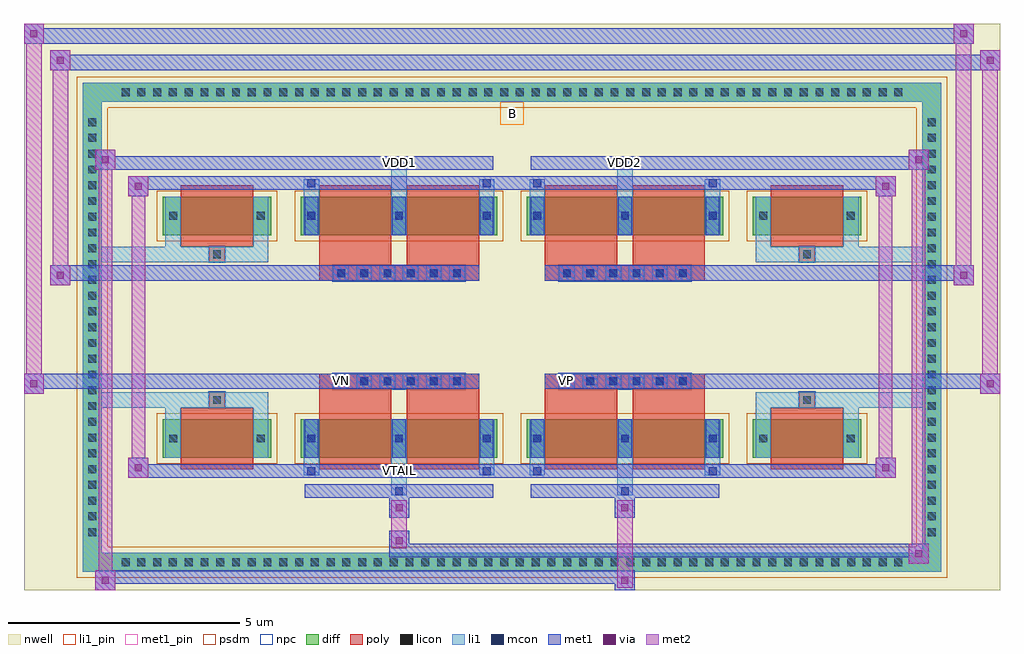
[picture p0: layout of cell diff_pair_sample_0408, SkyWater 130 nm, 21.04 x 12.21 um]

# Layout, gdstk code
import gdstk
lib = gdstk.Library(unit=1e-6, precision=5e-09)
def R(c, l, rs):  # rectangles x0, y0, x1, y1
    for r in rs: c.add(gdstk.rectangle(r[:2], r[2:], *l))
def A(c, l, x, y, w, h, nx, ny, dx, dy):  # array of equal rectangles
    R(c, l, [(x+i*dx, y+j*dy, x+i*dx+w, y+j*dy+h) for i in range(nx) for j in range(ny)])
def P(c, l, *ps):  # polygons
    for p in ps: c.add(gdstk.Polygon(p, *l))
nwell = (64, 20)
diff = (65, 20)
poly = (66, 20)
licon = (66, 44)
li1_pin = (67, 16)
li1 = (67, 20)
mcon = (67, 44)
met1_pin = (68, 16)
met1 = (68, 20)
via = (68, 44)
met2 = (69, 20)
psdm = (94, 20)
npc = (95, 20)

diff_pair_sample_0408 = lib.new_cell('diff_pair_sample_0408')
R(diff_pair_sample_0408, nwell, [(-10.52,-5.67,10.52,6.54), (-7.84,-3.86,-0.01,-0.8), (0.01,-3.86,7.84,-0.8), (-7.84,0.8,-0.01,3.86), (0.01,0.8,7.84,3.86)])
A(diff_pair_sample_0408, diff, -8.535, -5.27, 0.41, 0.41, 50, 2, 0.34, 10.13)
A(diff_pair_sample_0408, diff, -9.25, -4.625, 0.41, 0.41, 1, 27, 0, 0.34)
A(diff_pair_sample_0408, diff, 8.84, -4.625, 0.41, 0.41, 1, 27, 0, 0.34)
R(diff_pair_sample_0408, diff, [(-8.535,-5.27,8.535,-4.86), (-9.25,-4.625,-8.84,4.625), (8.84,-4.625,9.25,4.625), (-7.53,-2.815,-5.19,-1.985), (-4.55,-2.815,-0.32,-1.985), (0.32,-2.815,4.55,-1.985), (5.19,-2.815,7.53,-1.985), (-7.53,1.985,-5.19,2.815), (-4.55,1.985,-0.32,2.815), (0.32,1.985,4.55,2.815), (5.19,1.985,7.53,2.815), (-8.535,4.86,8.535,5.27)])
P(diff_pair_sample_0408, diff, [(9.25,5.27),(-9.25,5.27),(-9.25,-4.86),(-8.84,-4.86),(-8.84,4.86),(8.84,4.86),(8.84,-4.86),(-8.84,-4.86),(-9.25,-4.86),(-9.25,-5.27),(9.25,-5.27)])
A(diff_pair_sample_0408, poly, -3.85, -1.33, 0.33, 0.33, 6, 2, 0.5, 2.33)
A(diff_pair_sample_0408, poly, 1.02, -1.33, 0.33, 0.33, 6, 2, 0.5, 2.33)
R(diff_pair_sample_0408, poly, [(-7.14,-3.065,-5.58,-1.735), (-4.16,-3.065,-2.6,-1.735), (-2.27,-3.065,-0.71,-1.735), (0.71,-3.065,2.27,-1.735), (2.6,-3.065,4.16,-1.735), (5.58,-3.065,7.14,-1.735), (-6.525,-1.735,-6.195,-1.405), (-6.525,-1.735,-6.195,-1.405), (-4.16,-1.735,-2.6,-1.33), (-2.27,-1.735,-0.71,-1.33), (0.71,-1.735,2.27,-1.33), (2.6,-1.735,4.16,-1.33), (6.195,-1.735,6.525,-1.405), (6.195,-1.735,6.525,-1.405), (-4.16,-1.33,-0.71,-1), (0.71,-1.33,4.16,-1), (-4.16,1,-0.71,1.33), (0.71,1,4.16,1.33), (-4.16,1.33,-2.6,1.735), (-2.27,1.33,-0.71,1.735), (0.71,1.33,2.27,1.735), (2.6,1.33,4.16,1.735), (-6.525,1.405,-6.195,1.735), (-6.525,1.405,-6.195,1.735), (6.195,1.405,6.525,1.735), (6.195,1.405,6.525,1.735), (-7.14,1.735,-5.58,3.065), (-4.16,1.735,-2.6,3.065), (-2.27,1.735,-0.71,3.065), (0.71,1.735,2.27,3.065), (2.6,1.735,4.16,3.065), (5.58,1.735,7.14,3.065)])
A(diff_pair_sample_0408, licon, -8.415, -5.15, 0.17, 0.17, 50, 2, 0.34, 10.13)
A(diff_pair_sample_0408, licon, -9.13, -4.505, 0.17, 0.17, 1, 27, 0, 0.34)
A(diff_pair_sample_0408, licon, 8.96, -4.505, 0.17, 0.17, 1, 27, 0, 0.34)
A(diff_pair_sample_0408, licon, -4.41, -2.485, 0.17, 0.17, 3, 2, 1.89, 4.8)
A(diff_pair_sample_0408, licon, 0.46, -2.485, 0.17, 0.17, 3, 2, 1.89, 4.8)
A(diff_pair_sample_0408, licon, -3.77, -1.25, 0.17, 0.17, 6, 2, 0.5, 2.33)
A(diff_pair_sample_0408, licon, 1.1, -1.25, 0.17, 0.17, 6, 2, 0.5, 2.33)
R(diff_pair_sample_0408, licon, [(-7.39,-2.485,-7.22,-2.315), (-5.5,-2.485,-5.33,-2.315), (5.33,-2.485,5.5,-2.315), (7.22,-2.485,7.39,-2.315), (-6.445,-1.655,-6.275,-1.485), (6.275,-1.655,6.445,-1.485), (-6.445,1.485,-6.275,1.655), (6.275,1.485,6.445,1.655), (-7.39,2.315,-7.22,2.485), (-5.5,2.315,-5.33,2.485), (5.33,2.315,5.5,2.485), (7.22,2.315,7.39,2.485)])
R(diff_pair_sample_0408, li1_pin, [(-0.25,4.36,0.25,4.86)])
A(diff_pair_sample_0408, li1, -8.495, -5.23, 0.33, 0.33, 50, 2, 0.34, 10.13)
A(diff_pair_sample_0408, li1, -9.21, -4.585, 0.33, 0.33, 1, 27, 0, 0.34)
A(diff_pair_sample_0408, li1, 8.88, -4.585, 0.33, 0.33, 1, 27, 0, 0.34)
A(diff_pair_sample_0408, li1, -4.49, -2.815, 0.33, 0.83, 3, 2, 1.89, 4.8)
A(diff_pair_sample_0408, li1, 0.38, -2.815, 0.33, 0.83, 3, 2, 1.89, 4.8)
A(diff_pair_sample_0408, li1, -4.49, -2.565, 0.33, 0.33, 3, 2, 1.89, 4.8)
A(diff_pair_sample_0408, li1, 0.38, -2.565, 0.33, 0.33, 3, 2, 1.89, 4.8)
A(diff_pair_sample_0408, li1, -3.85, -1.33, 0.33, 0.33, 6, 2, 0.5, 2.33)
A(diff_pair_sample_0408, li1, 1.02, -1.33, 0.33, 0.33, 6, 2, 0.5, 2.33)
R(diff_pair_sample_0408, li1, [(-9.25,-5.27,-8.84,-4.86), (-9.25,-5.27,-8.84,-4.86), (-8.84,-5.27,8.84,-4.86), (8.84,-5.27,9.25,-4.86), (8.84,-5.27,9.25,-4.86), (-9.25,-4.86,-8.84,4.86), (8.84,-4.86,9.25,4.86), (-2.6,-3.62,-2.27,-2.815), (-2.52,-3.62,-2.35,-3.45), (2.27,-3.62,2.6,-2.815), (2.35,-3.62,2.52,-3.45), (-4.49,-3.19,-4.16,-2.815), (-4.41,-3.19,-4.24,-3.02), (-0.71,-3.19,-0.38,-2.815), (-0.63,-3.19,-0.46,-3.02), (0.38,-3.19,0.71,-2.815), (0.46,-3.19,0.63,-3.02), (4.16,-3.19,4.49,-2.815), (4.24,-3.19,4.41,-3.02), (-7.47,-2.815,-7.14,-1.985), (-5.58,-2.815,-5.25,-1.985), (5.25,-2.815,5.58,-1.985), (7.14,-2.815,7.47,-1.985), (-7.47,-2.565,-7.14,-2.235), (-5.58,-2.565,-5.25,-2.235), (5.25,-2.565,5.58,-2.235), (7.14,-2.565,7.47,-2.235), (-4.41,-2.485,-4.24,-2.315), (-4.41,-2.485,-4.24,-2.315), (-2.52,-2.485,-2.35,-2.315), (-2.52,-2.485,-2.35,-2.315), (-0.63,-2.485,-0.46,-2.315), (-0.63,-2.485,-0.46,-2.315), (0.46,-2.485,0.63,-2.315), (0.46,-2.485,0.63,-2.315), (2.35,-2.485,2.52,-2.315), (2.35,-2.485,2.52,-2.315), (4.24,-2.485,4.41,-2.315), (4.24,-2.485,4.41,-2.315), (-7.47,-1.985,-7.14,-1.405), (-5.58,-1.985,-5.25,-1.405), (5.25,-1.985,5.58,-1.405), (7.14,-1.985,7.47,-1.405), (-9.25,-1.735,-6.525,-1.405), (-7.47,-1.735,-6.525,-1.405), (-6.525,-1.735,-6.195,-1.405), (-6.195,-1.735,-5.25,-1.405), (5.25,-1.735,6.195,-1.405), (6.195,-1.735,6.525,-1.405), (6.195,-1.735,9.25,-1.405), (6.525,-1.735,7.47,-1.405), (-9.25,1.405,-6.525,1.735), (-7.47,1.405,-6.525,1.735), (-7.47,1.405,-7.14,1.985), (-6.525,1.405,-6.195,1.735), (-6.195,1.405,-5.25,1.735), (-5.58,1.405,-5.25,1.985), (5.25,1.405,6.195,1.735), (5.25,1.405,5.58,1.985), (6.195,1.405,6.525,1.735), (6.195,1.405,9.25,1.735), (6.525,1.405,7.47,1.735), (7.14,1.405,7.47,1.985), (-7.47,1.985,-7.14,2.815), (-5.58,1.985,-5.25,2.815), (5.25,1.985,5.58,2.815), (7.14,1.985,7.47,2.815), (-7.47,2.235,-7.14,2.565), (-5.58,2.235,-5.25,2.565), (5.25,2.235,5.58,2.565), (7.14,2.235,7.47,2.565), (-4.41,2.315,-4.24,2.485), (-4.41,2.315,-4.24,2.485), (-2.52,2.315,-2.35,2.485), (-2.52,2.315,-2.35,2.485), (-0.63,2.315,-0.46,2.485), (-0.63,2.315,-0.46,2.485), (0.46,2.315,0.63,2.485), (0.46,2.315,0.63,2.485), (2.35,2.315,2.52,2.485), (2.35,2.315,2.52,2.485), (4.24,2.315,4.41,2.485), (4.24,2.315,4.41,2.485), (-4.49,2.815,-4.16,3.19), (-2.6,2.815,-2.27,3.62), (-0.71,2.815,-0.38,3.19), (0.38,2.815,0.71,3.19), (2.27,2.815,2.6,3.62), (4.16,2.815,4.49,3.19), (-4.41,3.02,-4.24,3.19), (-0.63,3.02,-0.46,3.19), (0.46,3.02,0.63,3.19), (4.24,3.02,4.41,3.19), (-2.52,3.45,-2.35,3.62), (2.35,3.45,2.52,3.62), (-9.25,4.86,-8.84,5.27), (-9.25,4.86,-8.84,5.27), (-8.84,4.86,8.84,5.27), (8.84,4.86,9.25,5.27), (8.84,4.86,9.25,5.27)])
A(diff_pair_sample_0408, mcon, -4.41, -2.485, 0.17, 0.17, 3, 2, 1.89, 4.8)
A(diff_pair_sample_0408, mcon, 0.46, -2.485, 0.17, 0.17, 3, 2, 1.89, 4.8)
A(diff_pair_sample_0408, mcon, -3.77, -1.25, 0.17, 0.17, 6, 2, 0.5, 2.33)
A(diff_pair_sample_0408, mcon, 1.1, -1.25, 0.17, 0.17, 6, 2, 0.5, 2.33)
R(diff_pair_sample_0408, mcon, [(-2.52,-3.62,-2.35,-3.45), (2.35,-3.62,2.52,-3.45), (-4.41,-3.19,-4.24,-3.02), (-0.63,-3.19,-0.46,-3.02), (0.46,-3.19,0.63,-3.02), (4.24,-3.19,4.41,-3.02), (-4.41,3.02,-4.24,3.19), (-0.63,3.02,-0.46,3.19), (0.46,3.02,0.63,3.19), (4.24,3.02,4.41,3.19), (-2.52,3.45,-2.35,3.62), (2.35,3.45,2.52,3.62)])
R(diff_pair_sample_0408, met1_pin, [(-2.57,-3.23,-2.3,-2.96), (-3.82,-1.29,-3.55,-1.02), (1.05,-1.29,1.32,-1.02), (-2.57,3.41,-2.3,3.68), (2.3,3.41,2.57,3.68)])
A(diff_pair_sample_0408, met1, -4.47, -2.815, 0.29, 0.83, 3, 2, 1.89, 4.8)
A(diff_pair_sample_0408, met1, 0.4, -2.815, 0.29, 0.83, 3, 2, 1.89, 4.8)
A(diff_pair_sample_0408, met1, -4.47, -2.545, 0.29, 0.29, 3, 2, 1.89, 4.8)
A(diff_pair_sample_0408, met1, 0.4, -2.545, 0.29, 0.29, 3, 2, 1.89, 4.8)
A(diff_pair_sample_0408, met1, -3.83, -1.31, 0.29, 0.29, 6, 2, 0.5, 2.33)
A(diff_pair_sample_0408, met1, 1.04, -1.31, 0.29, 0.29, 6, 2, 0.5, 2.33)
R(diff_pair_sample_0408, met1, [(-8.98,-5.67,-8.55,-5.24), (2.22,-5.67,2.65,-5.24), (-8.98,-5.53,2.65,-5.24), (8.55,-5.1,8.98,-4.67), (-2.65,-4.96,8.98,-4.67), (-2.65,-4.82,-2.22,-4.39), (-2.65,-4.11,-2.22,-3.68), (2.22,-4.11,2.65,-3.68), (-4.47,-3.68,-0.4,-3.39), (-2.58,-3.68,-2.29,-3.39), (0.4,-3.68,4.47,-3.39), (2.29,-3.68,2.58,-3.39), (-8.27,-3.25,-7.84,-2.82), (-8.27,-3.25,-4.47,-2.96), (-4.47,-3.25,-4.18,-2.96), (-4.47,-3.25,-0.4,-2.96), (-0.69,-3.25,-0.4,-2.96), (-0.4,-3.25,0.4,-2.96), (0.4,-3.25,0.69,-2.96), (0.4,-3.25,4.47,-2.96), (4.18,-3.25,4.47,-2.96), (4.47,-3.25,8.27,-2.96), (7.84,-3.25,8.27,-2.82), (-10.52,-1.43,-10.09,-1), (10.09,-1.43,10.52,-1), (-10.52,-1.33,-0.71,-1), (-4.16,-1.33,-0.71,-1), (0.71,-1.33,4.16,-1), (0.71,-1.33,10.52,-1), (-9.95,0.9,-9.52,1.33), (9.52,0.9,9.95,1.33), (-9.95,1,-4.16,1.33), (-4.16,1,-0.71,1.33), (0.71,1,4.16,1.33), (4.16,1,9.95,1.33), (-8.27,2.82,-7.84,3.25), (7.84,2.82,8.27,3.25), (-8.27,2.96,-4.47,3.25), (-4.47,2.96,-4.18,3.25), (-4.47,2.96,-0.4,3.25), (-0.69,2.96,-0.4,3.25), (-0.4,2.96,0.4,3.25), (0.4,2.96,0.69,3.25), (0.4,2.96,4.47,3.25), (4.18,2.96,4.47,3.25), (4.47,2.96,8.27,3.25), (-8.98,3.39,-8.55,3.82), (-8.98,3.39,-4.47,3.68), (-4.47,3.39,-0.4,3.68), (-2.58,3.39,-2.29,3.68), (0.4,3.39,4.47,3.68), (2.29,3.39,2.58,3.68), (4.47,3.39,8.98,3.68), (8.55,3.39,8.98,3.82), (-9.95,5.54,-9.52,5.97), (-9.95,5.54,-7.84,5.87), (-7.84,5.54,7.84,5.87), (7.84,5.54,10.52,5.87), (10.09,5.54,10.52,5.97), (-10.52,6.11,-10.09,6.54), (-10.52,6.11,-7.84,6.44), (-7.84,6.11,7.84,6.44), (7.84,6.11,9.95,6.44), (9.52,6.11,9.95,6.54)])
R(diff_pair_sample_0408, via, [(-8.84,-5.53,-8.69,-5.38), (2.36,-5.53,2.51,-5.38), (8.69,-4.96,8.84,-4.81), (-2.51,-4.68,-2.36,-4.53), (-2.51,-3.97,-2.36,-3.82), (2.36,-3.97,2.51,-3.82), (-8.13,-3.11,-7.98,-2.96), (7.98,-3.11,8.13,-2.96), (-10.38,-1.29,-10.23,-1.14), (10.23,-1.29,10.38,-1.14), (-9.81,1.04,-9.66,1.19), (9.66,1.04,9.81,1.19), (-8.13,2.96,-7.98,3.11), (7.98,2.96,8.13,3.11), (-8.84,3.53,-8.69,3.68), (8.69,3.53,8.84,3.68), (-9.81,5.68,-9.66,5.83), (10.23,5.68,10.38,5.83), (-10.38,6.25,-10.23,6.4), (9.66,6.25,9.81,6.4)])
R(diff_pair_sample_0408, met2, [(-8.98,-5.67,-8.55,-5.24), (-8.91,-5.67,-8.62,3.82), (-8.62,-5.67,-8.55,-5.24), (-8.93,-5.62,-8.6,-5.29), (2.27,-5.62,2.6,-5.29), (2.27,-5.29,2.6,-4.06), (8.55,-5.1,8.98,-4.67), (8.62,-5.1,8.91,3.82), (8.91,-5.1,8.98,-4.67), (8.6,-5.05,8.93,-4.72), (-2.6,-4.77,-2.27,-4.44), (-2.6,-4.44,-2.27,-4.06), (-2.6,-4.06,-2.27,-3.73), (2.27,-4.06,2.6,-3.73), (-8.27,-3.25,-7.84,-2.82), (-8.2,-3.25,-7.91,3.25), (-7.91,-3.25,-7.84,-2.82), (7.84,-3.25,8.27,-2.82), (7.91,-3.25,8.2,3.25), (8.2,-3.25,8.27,-2.82), (-8.22,-3.2,-7.89,-2.87), (7.89,-3.2,8.22,-2.87), (-10.52,-1.43,-10.09,-1), (-10.47,-1.43,-10.14,6.54), (-10.14,-1.43,-10.09,-1), (10.09,-1.43,10.52,-1), (10.14,-1.43,10.47,5.97), (10.47,-1.43,10.52,-1), (-10.47,-1.38,-10.14,-1.05), (10.14,-1.38,10.47,-1.05), (-9.95,0.9,-9.52,1.33), (-9.9,0.9,-9.57,5.97), (-9.57,0.9,-9.52,1.33), (9.52,0.9,9.95,1.33), (9.57,0.9,9.9,6.54), (9.9,0.9,9.95,1.33), (-9.9,0.95,-9.57,1.28), (9.57,0.95,9.9,1.28), (-8.27,2.82,-7.84,3.25), (-7.91,2.82,-7.84,3.25), (7.84,2.82,8.27,3.25), (8.2,2.82,8.27,3.25), (-8.22,2.87,-7.89,3.2), (7.89,2.87,8.22,3.2), (-8.98,3.39,-8.55,3.82), (-8.62,3.39,-8.55,3.82), (8.55,3.39,8.98,3.82), (8.91,3.39,8.98,3.82), (-8.93,3.44,-8.6,3.77), (8.6,3.44,8.93,3.77), (-9.95,5.54,-9.52,5.97), (-9.57,5.54,-9.52,5.97), (10.09,5.54,10.52,5.97), (10.47,5.54,10.52,5.97), (-9.9,5.59,-9.57,5.92), (10.14,5.59,10.47,5.92), (-10.52,6.11,-10.09,6.54), (-10.14,6.11,-10.09,6.54), (9.52,6.11,9.95,6.54), (9.9,6.11,9.95,6.54), (-10.47,6.16,-10.14,6.49), (9.57,6.16,9.9,6.49)])
R(diff_pair_sample_0408, psdm, [(-7.66,-2.945,-5.06,-1.855), (-4.68,-2.945,-0.19,-1.855), (0.19,-2.945,4.68,-1.855), (5.06,-2.945,7.66,-1.855), (-7.66,1.855,-5.06,2.945), (-4.68,1.855,-0.19,2.945), (0.19,1.855,4.68,2.945), (5.06,1.855,7.66,2.945)])
P(diff_pair_sample_0408, psdm, [(9.38,5.4),(-9.38,5.4),(-9.38,-4.73),(-8.71,-4.73),(-8.71,4.73),(8.71,4.73),(8.71,-4.73),(-8.71,-4.73),(-9.38,-4.73),(-9.38,-5.4),(9.38,-5.4)])
A(diff_pair_sample_0408, npc, -3.87, -1.35, 0.37, 0.37, 6, 2, 0.5, 2.33)
A(diff_pair_sample_0408, npc, 1, -1.35, 0.37, 0.37, 6, 2, 0.5, 2.33)
R(diff_pair_sample_0408, npc, [(-6.545,-1.755,-6.175,-1.385), (6.175,-1.755,6.545,-1.385), (-3.87,-1.35,-3,-0.98), (-3.87,-1.35,-3,-0.98), (-3.37,-1.35,-2.5,-0.98), (-3.37,-1.35,-2.5,-0.98), (-2.87,-1.35,-2,-0.98), (-2.87,-1.35,-2,-0.98), (-2.37,-1.35,-1.5,-0.98), (-2.37,-1.35,-1.5,-0.98), (-1.87,-1.35,-1,-0.98), (-1.87,-1.35,-1,-0.98), (1,-1.35,1.87,-0.98), (1,-1.35,1.87,-0.98), (1.5,-1.35,2.37,-0.98), (1.5,-1.35,2.37,-0.98), (2,-1.35,2.87,-0.98), (2,-1.35,2.87,-0.98), (2.5,-1.35,3.37,-0.98), (2.5,-1.35,3.37,-0.98), (3,-1.35,3.87,-0.98), (3,-1.35,3.87,-0.98), (-3.87,0.98,-3,1.35), (-3.87,0.98,-3,1.35), (-3.37,0.98,-2.5,1.35), (-3.37,0.98,-2.5,1.35), (-2.87,0.98,-2,1.35), (-2.87,0.98,-2,1.35), (-2.37,0.98,-1.5,1.35), (-2.37,0.98,-1.5,1.35), (-1.87,0.98,-1,1.35), (-1.87,0.98,-1,1.35), (1,0.98,1.87,1.35), (1,0.98,1.87,1.35), (1.5,0.98,2.37,1.35), (1.5,0.98,2.37,1.35), (2,0.98,2.87,1.35), (2,0.98,2.87,1.35), (2.5,0.98,3.37,1.35), (2.5,0.98,3.37,1.35), (3,0.98,3.87,1.35), (3,0.98,3.87,1.35), (-6.545,1.385,-6.175,1.755), (6.175,1.385,6.545,1.755)])
diff_pair_sample_0408.add(gdstk.Label('VTAIL', (-2.435,-3.095), layer=68, texttype=5))
diff_pair_sample_0408.add(gdstk.Label('VN', (-3.685,-1.155), layer=68, texttype=5))
diff_pair_sample_0408.add(gdstk.Label('VP', (1.185,-1.155), layer=68, texttype=5))
diff_pair_sample_0408.add(gdstk.Label('B', (0,4.61), layer=67, texttype=5))
diff_pair_sample_0408.add(gdstk.Label('VDD2', (2.435,3.545), layer=68, texttype=5))
diff_pair_sample_0408.add(gdstk.Label('VDD1', (-2.435,3.545), layer=68, texttype=5))

lib.write_gds('diff_pair_sample_0408.gds')
